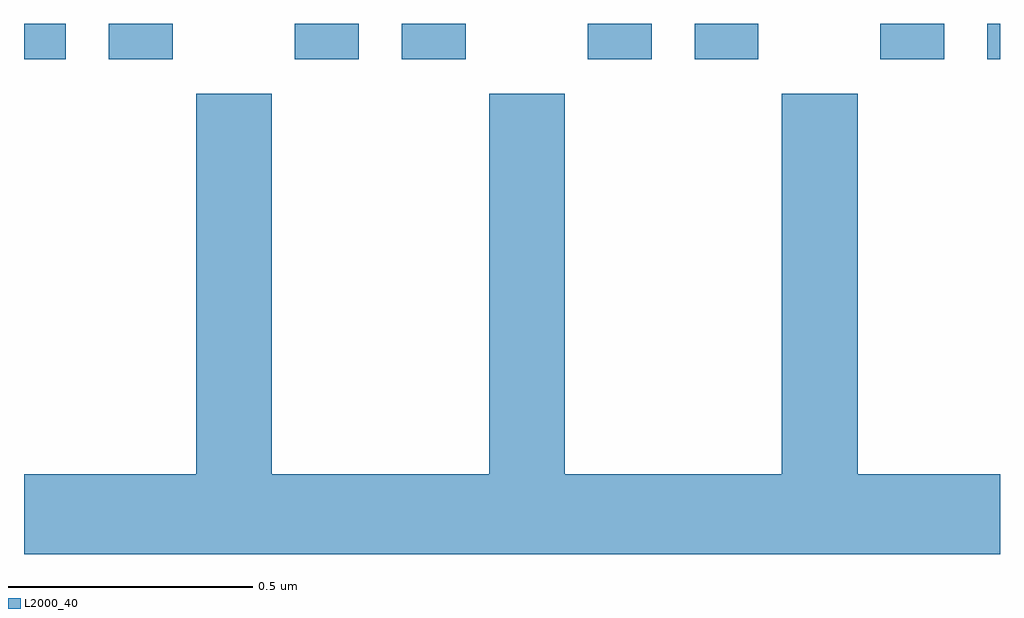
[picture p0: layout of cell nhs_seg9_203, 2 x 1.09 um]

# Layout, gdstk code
import gdstk
lib = gdstk.Library(unit=1e-6, precision=1e-09)
def R(c, l, rs):  # rectangles x0, y0, x1, y1
    for r in rs: c.add(gdstk.rectangle(r[:2], r[2:], *l))
def P(c, l, *ps):  # polygons
    for p in ps: c.add(gdstk.Polygon(p, *l))
L2000_40 = (2000, 40)

nhs_seg9_203 = lib.new_cell('nhs_seg9_203')
R(nhs_seg9_203, L2000_40, [(113,1205.427,113.086,1205.5), (113.174,1205.427,113.305,1205.5), (113.555,1205.427,113.686,1205.5), (113.774,1205.427,113.905,1205.5), (114.155,1205.427,114.286,1205.5), (114.374,1205.427,114.505,1205.5), (114.755,1205.427,114.886,1205.5), (114.974,1205.427,115,1205.5)])
P(nhs_seg9_203, L2000_40, [(115,1204.576),(114.708,1204.576),(114.708,1205.356),(114.553,1205.356),(114.553,1204.576),(114.108,1204.576),(114.108,1205.356),(113.953,1205.356),(113.953,1204.576),(113.508,1204.576),(113.508,1205.356),(113.353,1205.356),(113.353,1204.576),(113,1204.576),(113,1204.412),(115,1204.412)])

lib.write_gds('nhs_seg9_203.gds')
